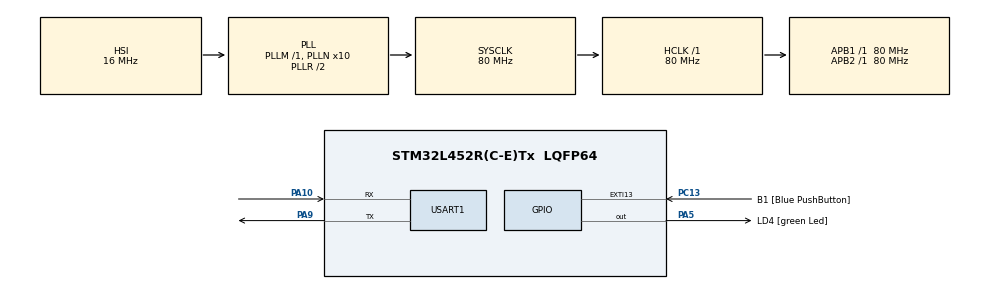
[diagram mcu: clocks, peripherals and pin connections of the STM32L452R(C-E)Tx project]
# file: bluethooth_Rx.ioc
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Mcu.Family=STM32L4
Mcu.Name=STM32L452R(C-E)Tx
Mcu.Package=LQFP64
NVIC.PriorityGroup=NVIC_PRIORITYGROUP_4
NVIC.TIM1_BRK_TIM15_IRQn=true\:0\:0\:false\:false\:true\:true\:true\:true
NVIC.TIM1_UP_TIM16_IRQn=true\:0\:0\:false\:false\:true\:true\:true\:true
NVIC.USART1_IRQn=true\:0\:0\:false\:false\:true\:true\:true\:true
PA10.Mode=Asynchronous
PA10.Signal=USART1_RX
PA13\ (JTMS/SWDIO).GPIO_Label=TMS
PA13\ (JTMS/SWDIO).Mode=Serial_Wire
PA13\ (JTMS/SWDIO).Signal=SYS_JTMS-SWDIO
PA14\ (JTCK/SWCLK).GPIO_Label=TCK
PA14\ (JTCK/SWCLK).Mode=Serial_Wire
PA14\ (JTCK/SWCLK).Signal=SYS_JTCK-SWCLK
PA2.GPIO_Label=USART_TX
PA2.GPIO_Mode=GPIO_MODE_AF_PP
PA2.GPIO_PuPd=GPIO_NOPULL
PA2.GPIO_Speed=GPIO_SPEED_FREQ_VERY_HIGH
PA2.Signal=USART2_TX
PA3.GPIO_Label=USART_RX
PA3.GPIO_Mode=GPIO_MODE_AF_PP
PA3.GPIO_PuPd=GPIO_NOPULL
PA3.GPIO_Speed=GPIO_SPEED_FREQ_VERY_HIGH
PA3.Signal=USART2_RX
PA5.GPIO_Label=LD4 [green Led]
PA5.GPIO_ModeDefaultOutputPP=GPIO_MODE_OUTPUT_PP
PA5.GPIO_PuPd=GPIO_NOPULL
PA5.GPIO_Speed=GPIO_SPEED_FREQ_LOW
PA5.Signal=GPIO_Output
PA9.Mode=Asynchronous
PA9.Signal=USART1_TX
PB3\ (JTDO/TRACESWO).GPIO_Label=SWO
PB3\ (JTDO/TRACESWO).Signal=SYS_JTDO-SWO
PC13.GPIO_Label=B1 [Blue PushButton]
PC13.GPIO_ModeDefaultEXTI=GPIO_MODE_IT_FALLING
PC13.GPIO_PuPd=GPIO_NOPULL
PC13.Signal=GPXTI13
PC14-OSC32_IN\ (PC14).Mode=LSE-External-Oscillator
PC14-OSC32_IN\ (PC14).Signal=RCC_OSC32_IN
PC15-OSC32_OUT\ (PC15).Mode=LSE-External-Oscillator
PC15-OSC32_OUT\ (PC15).Signal=RCC_OSC32_OUT
PH0-OSC_IN\ (PH0).Mode=HSE-External-Oscillator
PH0-OSC_IN\ (PH0).Signal=RCC_OSC_IN
PH1-OSC_OUT\ (PH1).Mode=HSE-External-Oscillator
PH1-OSC_OUT\ (PH1).Signal=RCC_OSC_OUT
ProjectManager.HeapSize=0x200
ProjectManager.StackSize=0x400
ProjectManager.TargetToolchain=STM32CubeIDE
RCC.ADCFreq_Value=64000000
RCC.AHBFreq_Value=80000000
RCC.APB1Freq_Value=80000000
RCC.APB1TimFreq_Value=80000000
RCC.APB2Freq_Value=80000000
RCC.APB2TimFreq_Value=80000000
RCC.CortexFreq_Value=80000000
RCC.HCLKFreq_Value=80000000
RCC.HSE_VALUE=8000000
RCC.HSI48_VALUE=48000000
RCC.HSI_VALUE=16000000
RCC.MSI_VALUE=4000000
RCC.PLLN=10
RCC.PLLSourceVirtual=RCC_PLLSOURCE_HSI
RCC.PREFETCH_ENABLE=1
RCC.SYSCLKFreq_VALUE=80000000
RCC.SYSCLKSource=RCC_SYSCLKSOURCE_PLLCLK
RCC.USBFreq_Value=64000000
RCC.VCOOutputFreq_Value=160000000
TIM1.Period=999
TIM1.Prescaler=1999
USART1.VirtualMode-Asynchronous=VM_ASYNC
VP_TIM1_VS_ClockSourceINT.Mode=Internal
board=NUCLEO-L452RE

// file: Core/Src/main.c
/* USER CODE BEGIN Header */
/**
 ******************************************************************************
 * @file           : main.c
 * @brief          : Main program body
 ******************************************************************************
 * @attention
 *
 * Copyright (c) 2023 STMicroelectronics.
 * All rights reserved.
 *
 * This software is licensed under terms that can be found in the LICENSE file
 * in the root directory of this software component.
 * If no LICENSE file comes with this software, it is provided AS-IS.
 *
 ******************************************************************************
 */
/* USER CODE END Header */
#include "main.h"
#include "tim.h"
#include "usart.h"
#include "gpio.h"
#include "math.h"

/* USER CODE BEGIN PD */
#define BUFFER_LEN 88
/* USER CODE END PD */

/* USER CODE BEGIN PV */
extern UART_HandleTypeDef huart1;
uint32_t rx_count = 0;
uint32_t SOC , Current_Sensor = 0 ;
uint8_t RX_BUFFER[BUFFER_LEN] = { 0 };
uint8_t TX_BUFFER[BUFFER_LEN] = { 0 };
uint16_t F_L_RPM_Sensor = 0;
uint16_t F_R_RPM_Sensor = 0;
uint16_t R_L_RPM_Sensor = 0;
uint16_t R_R_RPM_Sensor = 0;
int8_t acc_x1, acc_x2, acc_y1, acc_y2, acc_z1, acc_z2, gyr_x1, gyr_x2, gyr_y1,
		gyr_y2, gyr_z1, gyr_z2 = 0;
int8_t ang_x1, ang_x2, ang_y1, ang_y2, ang_z1, ang_z2 = 0;
int16_t acc_X, acc_Y, acc_Z, gyr_X, gyr_Y, gyr_Z, ang_X, ang_Y, ang_Z = 0;
int16_t GDBT, CBT, coolant_Temp, accel_transform, Motor_Temp, Motor_RPM,
		phaseA_Current, phaseB_Current, phaseC_Current, DCBus_Current,
		DCBus_Voltage, Output_Voltage, Vd_Voltage, Vq_Voltage, Id_Current,
		Iq_Current, commanded_torque, feedback_torque = 0;
int8_t VSM_state, Inverter_state = 0;
uint16_t F_L_Linear,F_R_Linear,R_L_Linear,R_R_Linear,Steering_Linear = 0;
uint16_t Sum_Voltage = 0;
uint16_t A_Max_Voltage,B_Max_Voltage,C_Max_Voltage,D_Max_Voltage,E_Max_Voltage = 0;
uint16_t A_Min_Voltage,B_Min_Voltage,C_Min_Voltage,D_Min_Voltage,E_Min_Voltage = 0;
uint8_t A_Temp,B_Temp,C_Temp,D_Temp,E_Temp = 0;
uint16_t Brake_Pressure = 0;
uint8_t Max_Current = 0;
float Lv_Voltage , Lv_Temp , Lv_Current = 0;
uint8_t Lv_C_Count, Lv_Bms_stat = 0;
float Lv_Temp = 0;
float Adc1, Adc2 = 0;
long double Adc_Temp, Ntc_R = 0;

/* USER CODE END PV */

void SystemClock_Config(void);

int main(void)
{

  /* MCU Configuration--------------------------------------------------------*/

  /* Reset of all peripherals, Initializes the Flash interface and the Systick. */
  HAL_Init();

  /* Configure the system clock */
  SystemClock_Config();

  /* Initialize all configured peripherals */
  MX_GPIO_Init();
  MX_TIM1_Init();
  MX_USART1_UART_Init();
  /* USER CODE BEGIN 2 */
	HAL_UART_Receive_IT(&huart1, RX_BUFFER, BUFFER_LEN);

  /* USER CODE END 2 */

  /* Infinite loop */
	while (1) {

    /* USER CODE BEGIN 3 */
		Sum_Voltage = (RX_BUFFER[1] << 8) + RX_BUFFER[0];
		A_Max_Voltage = RX_BUFFER[2] + 255;
		B_Max_Voltage = RX_BUFFER[3] + 255;
		C_Max_Voltage = RX_BUFFER[4] + 255;
		D_Max_Voltage = RX_BUFFER[5] + 255;
		E_Max_Voltage = RX_BUFFER[6] + 255;
		A_Min_Voltage = RX_BUFFER[7] + 255;
		B_Min_Voltage = RX_BUFFER[8] + 255;
		C_Min_Voltage = RX_BUFFER[9] + 255;
		D_Min_Voltage = RX_BUFFER[10] + 255;
		E_Min_Voltage = RX_BUFFER[11] + 255;
		A_Temp = RX_BUFFER[12];
		B_Temp = RX_BUFFER[13];
		C_Temp = RX_BUFFER[14];
		D_Temp = RX_BUFFER[15];
		E_Temp = RX_BUFFER[16];
		Lv_Voltage = ((RX_BUFFER[17] << 8) | RX_BUFFER[18]) * 0.001532;
		SOC = RX_BUFFER[19];
		Current_Sensor = RX_BUFFER[21];
		Max_Current = RX_BUFFER[23];
		GDBT = ((RX_BUFFER[25] << 8) | RX_BUFFER[24]);
		CBT = ((RX_BUFFER[27] << 8) | RX_BUFFER[26]);
		coolant_Temp = ((RX_BUFFER[29] << 8) | RX_BUFFER[28]);
		accel_transform = ((RX_BUFFER[33] << 8) | RX_BUFFER[32]);
		accel_transform = (0b0000001111111111 && accel_transform);
		Motor_Temp = ((RX_BUFFER[31] << 8) | RX_BUFFER[30]);
		Motor_RPM = ((RX_BUFFER[35] << 8) | RX_BUFFER[34]);
		phaseA_Current = ((RX_BUFFER[37] << 8) | RX_BUFFER[36]);
		phaseB_Current = ((RX_BUFFER[39] << 8) | RX_BUFFER[38]);
		phaseC_Current = ((RX_BUFFER[41] << 8) | RX_BUFFER[40]);
		DCBus_Current = ((RX_BUFFER[43] << 8) | RX_BUFFER[42]);
		DCBus_Voltage = ((RX_BUFFER[45] << 8) | RX_BUFFER[44]);
		Output_Voltage = ((RX_BUFFER[47] << 8) | RX_BUFFER[46]);
		Vd_Voltage = ((RX_BUFFER[49] << 8) | RX_BUFFER[48]);
		Vq_Voltage = ((RX_BUFFER[51] << 8) | RX_BUFFER[50]);
		Id_Current = ((RX_BUFFER[53] << 8) | RX_BUFFER[52]);
		Iq_Current = ((RX_BUFFER[55] << 8) | RX_BUFFER[54]);
		VSM_state = RX_BUFFER[56];
		Inverter_state = RX_BUFFER[57];
		commanded_torque = ((RX_BUFFER[59] << 8) | RX_BUFFER[58]);
		feedback_torque = ((RX_BUFFER[61] << 8) | RX_BUFFER[60]);
		Brake_Pressure = (RX_BUFFER[63] << 8) + RX_BUFFER[62];
		acc_x1 = (int8_t) RX_BUFFER[64];
		acc_x2 = (int8_t) RX_BUFFER[65];
		acc_y1 = (int8_t) RX_BUFFER[66];
		acc_y2 = (int8_t) RX_BUFFER[67];
		acc_z1 = (int8_t) RX_BUFFER[68];
		acc_z2 = (int8_t) RX_BUFFER[69];

		acc_X = (acc_x2 << 8) + (uint8_t) acc_x1;
		acc_Y = (acc_y2 << 8) + (uint8_t) acc_y1;
		acc_Z = (acc_z2 << 8) + (uint8_t) acc_z1;

		gyr_x1 = (int8_t) RX_BUFFER[70];
		gyr_x2 = (int8_t) RX_BUFFER[71];
		gyr_y1 = (int8_t) RX_BUFFER[72];
		gyr_y2 = (int8_t) RX_BUFFER[73];
		gyr_z1 = (int8_t) RX_BUFFER[74];
		gyr_z2 = (int8_t) RX_BUFFER[75];

		gyr_X = (gyr_x2 << 8) + (uint8_t) gyr_x1;
		gyr_Y = (gyr_y2 << 8) + (uint8_t) gyr_y1;
		gyr_Z = (gyr_z2 << 8) + (uint8_t) gyr_z1;

		ang_x1 = (int8_t) RX_BUFFER[76];
		ang_x2 = (int8_t) RX_BUFFER[77];
		ang_y1 = (int8_t) RX_BUFFER[78];
		ang_y2 = (int8_t) RX_BUFFER[79];
		ang_z1 = (int8_t) RX_BUFFER[80];
		ang_z2 = (int8_t) RX_BUFFER[81];

		ang_X = (ang_x2 << 8) + (uint8_t) ang_x1;
		ang_Y = (ang_y2 << 8) + (uint8_t) ang_y1;
		ang_Z = (ang_z2 << 8) + (uint8_t) ang_z1;

		Lv_Bms_stat = RX_BUFFER[82];
		Adc_Temp = ((RX_BUFFER[83] << 8) + RX_BUFFER[84]);
		//Ntc_R = (Adc_Temp*(5/4096)/(5-Adc_Temp*(5/4096)))*10185;
		Adc1 = Adc_Temp*5;
		Adc1 = Adc1/4096;
		Adc2 = Adc_Temp * 5;
		Adc2 = Adc2/4096;
		Adc2 = 5 - Adc2;
		Ntc_R = Adc1/Adc2*10185;
		Lv_Temp = (float)1/(((float)1/3435)*log(Ntc_R/10000)+((float)1/298.15))-273.15;
		Lv_Current = ((RX_BUFFER[85] << 8) + RX_BUFFER[86]) * 0.00855;
		Lv_C_Count = RX_BUFFER[87];

	}

}
  /* USER CODE END 3 */

void SystemClock_Config(void)
{
  RCC_OscInitTypeDef RCC_OscInitStruct = {0};
  RCC_ClkInitTypeDef RCC_ClkInitStruct = {0};

  /** Configure the main internal regulator output voltage
  */
  if (HAL_PWREx_ControlVoltageScaling(PWR_REGULATOR_VOLTAGE_SCALE1) != HAL_OK)
  {
    Error_Handler();
  }

  /** Initializes the RCC Oscillators according to the specified parameters
  * in the RCC_OscInitTypeDef structure.
  */
  RCC_OscInitStruct.OscillatorType = RCC_OSCILLATORTYPE_HSI;
  RCC_OscInitStruct.HSIState = RCC_HSI_ON;
  RCC_OscInitStruct.HSICalibrationValue = RCC_HSICALIBRATION_DEFAULT;
  RCC_OscInitStruct.PLL.PLLState = RCC_PLL_ON;
  RCC_OscInitStruct.PLL.PLLSource = RCC_PLLSOURCE_HSI;
  RCC_OscInitStruct.PLL.PLLM = 1;
  RCC_OscInitStruct.PLL.PLLN = 10;
  RCC_OscInitStruct.PLL.PLLP = RCC_PLLP_DIV7;
  RCC_OscInitStruct.PLL.PLLQ = RCC_PLLQ_DIV2;
  RCC_OscInitStruct.PLL.PLLR = RCC_PLLR_DIV2;
  if (HAL_RCC_OscConfig(&RCC_OscInitStruct) != HAL_OK)
  {
    Error_Handler();
  }

  /** Initializes the CPU, AHB and APB buses clocks
  */
  RCC_ClkInitStruct.ClockType = RCC_CLOCKTYPE_HCLK|RCC_CLOCKTYPE_SYSCLK
                              |RCC_CLOCKTYPE_PCLK1|RCC_CLOCKTYPE_PCLK2;
  RCC_ClkInitStruct.SYSCLKSource = RCC_SYSCLKSOURCE_PLLCLK;
  RCC_ClkInitStruct.AHBCLKDivider = RCC_SYSCLK_DIV1;
  RCC_ClkInitStruct.APB1CLKDivider = RCC_HCLK_DIV1;
  RCC_ClkInitStruct.APB2CLKDivider = RCC_HCLK_DIV1;

  if (HAL_RCC_ClockConfig(&RCC_ClkInitStruct, FLASH_LATENCY_4) != HAL_OK)
  {
    Error_Handler();
  }
}

/* USER CODE BEGIN 4 */
void HAL_UART_RxCpltCallback(UART_HandleTypeDef *huart) {
	if (huart->Instance == huart1.Instance) {
		HAL_UART_Receive_IT(&huart1, RX_BUFFER, sizeof(RX_BUFFER));
		rx_count++;
	}
}
/* USER CODE END 4 */

void Error_Handler(void)
{
	__disable_irq();
	while (1) {
	}
}
